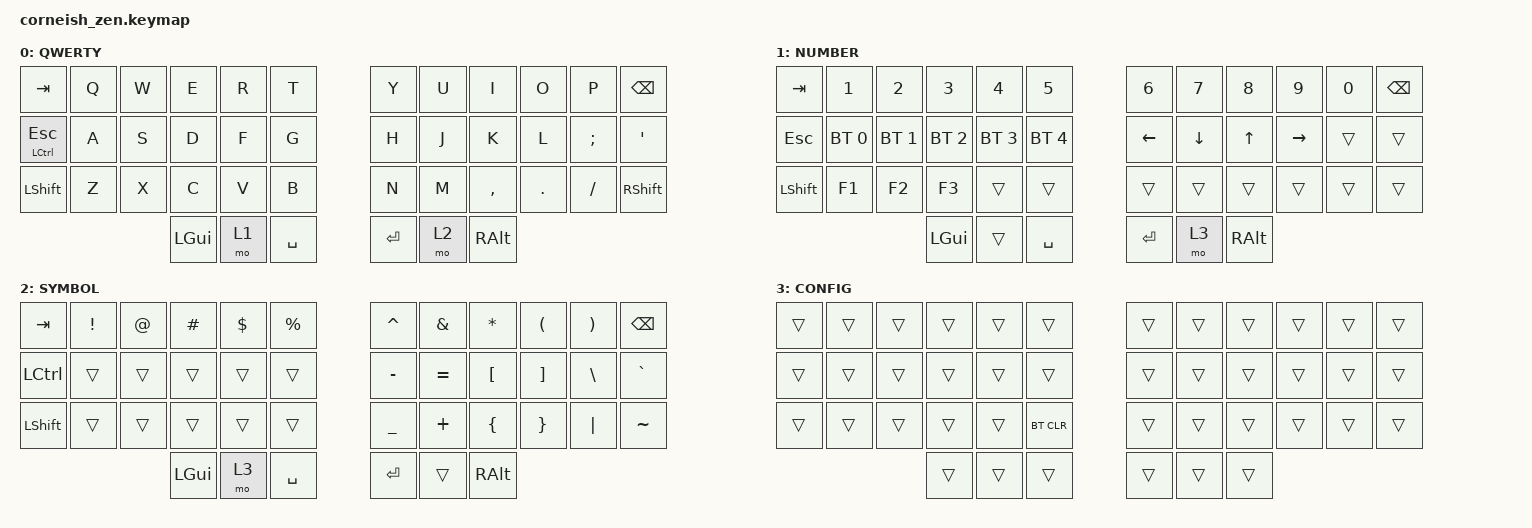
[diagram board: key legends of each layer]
#include <behaviors.dtsi>
#include <dt-bindings/zmk/keys.h>
#include <dt-bindings/zmk/bt.h>

/ {
  chosen {
    zmk,matrix_transform = &default_transform;
    //zmk,matrix_transform = &five_column_transform;
  };
};

/ {
        keymap {
                compatible = "zmk,keymap";

                default_layer {
                        label = "QWERTY";
// -----------------------------------------------------------------------------------------
// |  TAB     |  Q  |  W  |  E  |  R  |  T  |   |  Y  |  U   |  I  |  O  |  P  | BKSP |
// | CTRL/ESC |  A  |  S  |  D  |  F  |  G  |   |  H  |  J   |  K  |  L  |  ;  |  '   |
// | SHFT     |  Z  |  X  |  C  |  V  |  B  |   |  N  |  M   |  ,  |  .  |  /  | SHFT |
//                    | GUI | LWR | SPC |   | ENT | RSE  | ALT |
                        bindings = <
   &kp TAB       &kp Q &kp W &kp E &kp R &kp T   &kp Y &kp U  &kp I     &kp O   &kp P    &kp BSPC
   &mt LCTRL ESC &kp A &kp S &kp D &kp F &kp G   &kp H &kp J  &kp K     &kp L   &kp SEMI &kp SQT
   &kp LSHFT     &kp Z &kp X &kp C &kp V &kp B   &kp N &kp M  &kp COMMA &kp DOT &kp FSLH &kp RSHFT
                  &kp LGUI &mo 1 &kp SPACE   &kp RET &mo 2 &kp RALT
                        >;
                };
                lower_layer {
                        label = "NUMBER";
// -----------------------------------------------------------------------------------------
// |  TAB |  1  |  2  |  3  |  4  |  5  |   |  6  |  7  |  8  |  9  |  0  | BKSP |
// |  ESC | BT1 | BT2 | BT3 | BT4 | BT5 |   |     | LFT | DWN |  UP | RGT |      |
// | SHFT |  F1 |  F2 |  F3 |     |     |   |     |     |     |     |     |      |
//                    | GUI |     | SPC |   | ENT | RSE | ALT |
                        bindings = <
   &kp TAB    &kp N1       &kp N2       &kp N3       &kp N4       &kp N5         &kp N6   &kp N7   &kp N8 &kp N9    &kp N0 &kp BSPC
   &kp ESC    &bt BT_SEL 0 &bt BT_SEL 1 &bt BT_SEL 2 &bt BT_SEL 3 &bt BT_SEL 4   &kp LEFT &kp DOWN &kp UP &kp RIGHT &trans &trans
   &kp LSHFT  &kp F1       &kp F2       &kp F3       &trans       &trans         &trans   &trans   &trans &trans    &trans &trans
                          	        &kp LGUI     &trans       &kp SPACE      &kp RET  &mo 3   &kp RALT
                        >;
                };

                raise_layer {
                        label = "SYMBOL";
// -----------------------------------------------------------------------------------------
// |  TAB |  !  |  @  |  #  |  $  |  %  |   |  ^  |  &  |  *  |  (  |  )  | BKSP |
// | CTRL |     |     |     |     |     |   |  -  |  =  |  [  |  ]  |  \  |  `   |
// | SHFT |     |     |     |     |     |   |  _  |  +  |  {  |  }  | "|" |  ~   |
//                    | GUI | RSE | SPC |   | ENT |     | ALT |
                        bindings = <
   &kp  TAB  &kp EXCL &kp AT &kp HASH &kp DLLR &kp PRCNT   &kp CARET &kp AMPS  &kp STAR &kp LPAR &kp RPAR &kp BSPC
   &kp LCTRL &trans   &trans &trans   &trans   &trans      &kp MINUS &kp EQUAL &kp LBKT &kp RBKT &kp BSLH &kp GRAVE
   &kp LSHFT &trans   &trans &trans   &trans   &trans      &kp UNDER &kp PLUS  &kp LBRC &kp RBRC &kp PIPE &kp TILDE
                    	     &kp LGUI &mo 3   &kp SPACE   &kp RET   &trans    &kp RALT
                        >;
                };

                both_layer {
                        label = "CONFIG";
                        // both layers + B = clear bluetooth for current profile
                        bindings = <
   &trans &trans &trans &trans &trans &trans &trans &trans &trans &trans &trans &trans
   &trans &trans &trans &trans &trans &trans &trans &trans &trans &trans &trans &trans
   &trans &trans &trans &trans &trans &bt BT_CLR &trans &trans &trans &trans &trans &trans
   &trans &trans &trans &trans &trans &trans
                        >;
                };
        };
};
